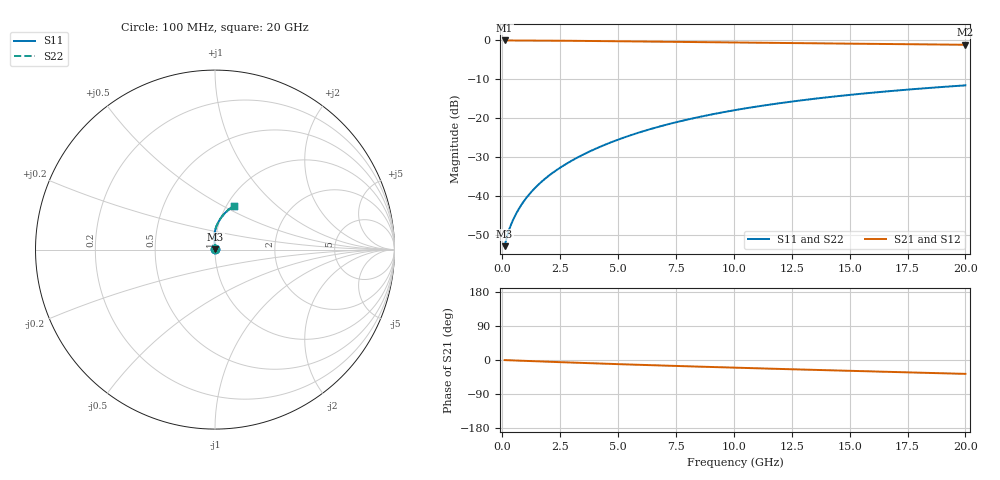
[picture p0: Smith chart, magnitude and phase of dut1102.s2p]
! Touchstone file exported from HFSS 2024.1.0
!  File:  C:/UserFiles/LocalFiles/RDL_TSV_Batchsim/temp_RDL_top_1102_1780046361.aedt
!  Generated:  05:21:31 PM May 29, 2026
!  Design:  RDL_top
!  Project:  temp_RDL_top_1102_1780046361
!  Setup:  Setup1
!  Solution:  Sweep
! Variables:
!  dtsv = 10.80580581um
!  hbump = 3um
!  htsv = 58.62um
!  ldown = 100um
!  lrdl = 570.24um
!  p = 40
!  p1 = 48.9um
!  rhole = 1um
!  t = 450um
!  tdown = 3.915915916um
!  trdl = 3.95um
!  wdown = 15.38538539um
!  wrdl = 29.46um
# GHz S MA R 50.000000
! Terminal data exported
! Port[1] = Box2_T1
! Port[2] = Box2_T2
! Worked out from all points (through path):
!   200 points, 100 MHz to 20 GHz, reference 50 ohm
!   highest |S21| = -0.02 dB at 100 MHz (marker M1); lowest = -1.1 dB at 20 GHz (marker M2)
!   group delay of S21, straight-line fit = 4.99 ps
!   lowest |S11| = -52.8 dB at 100 MHz (marker M3), VSWR 1.00, Z = 50.2 + j0.113 ohm
!   |S11| at or under -10 dB: start of sweep to end of sweep
!   |S22| runs from -52.8 to -11.5 dB; largest |S21 - S12| = 3.4e-15
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0.1  0.002291 29.5  0.998 -0.2  0.998 -0.2  0.002291 29.5
! Gamma 0 0 0 0
! Port Impedance 50 0 50 0
0.2  0.003024 44.2  0.9978 -0.5  0.9978 -0.5  0.003024 44.2
0.3  0.003767 52.5  0.9975 -0.7  0.9975 -0.7  0.003766 52.5
0.4  0.004497 58.4  0.9973 -0.9  0.9973 -0.9  0.004497 58.4
0.5  0.005236 63.0  0.9972 -1.2  0.9972 -1.2  0.005236 63.0
0.8  0.007567 72.6  0.9966 -1.9  0.9966 -1.9  0.007567 72.6
1  0.009211 76.8  0.9962 -2.3  0.9962 -2.3  0.009211 76.8
1.2  0.01092 79.9  0.9957 -2.8  0.9957 -2.8  0.01092 79.9
1.7  0.01541 85.4  0.994 -3.9  0.994 -3.9  0.01541 85.4
2.2  0.02024 88.8  0.992 -5.0  0.992 -5.0  0.02024 88.8
2.8  0.02647 91.5  0.989 -6.3  0.989 -6.3  0.02647 91.6
3.5  0.03436 93.4  0.9849 -7.9  0.9849 -7.9  0.03436 93.4
4.2  0.04287 94.3  0.9804 -9.3  0.9804 -9.3  0.04288 94.3
5  0.05328 94.5  0.9748 -10.9  0.9748 -10.9  0.05329 94.5
5.9  0.0657 94.0  0.9683 -12.7  0.9683 -12.7  0.06571 94.0
6.8  0.07866 92.9  0.9618 -14.4  0.9618 -14.4  0.07869 92.9
8.4  0.1025 90.2  0.9504 -17.4  0.9504 -17.4  0.1026 90.2
10.1  0.1282 86.8  0.9388 -20.4  0.9388 -20.4  0.1283 86.8
11.7  0.1523 83.4  0.9284 -23.1  0.9284 -23.1  0.1523 83.4
13.4  0.1772 79.8  0.9177 -26.0  0.9177 -26.0  0.1772 79.8
16.7  0.223 72.9  0.898 -31.4  0.898 -31.4  0.2231 72.9
20  0.2649 66.5  0.8789 -36.6  0.8789 -36.6  0.265 66.5
